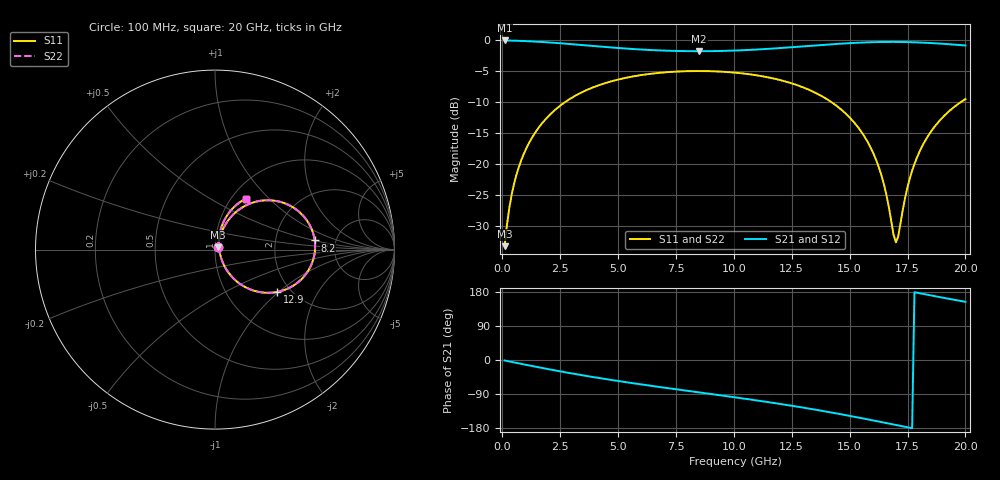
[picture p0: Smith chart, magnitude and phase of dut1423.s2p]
! Touchstone file exported from HFSS 2026.1.0
!  File:  C:/ffzhzh/LocalFiles/Ansys_Project_Files/temp_train_TSV_RDL_1423_1783354750_37376.aedt
!  Generated:  12:28:33 AM Jul  7, 2026
!  Design:  TSV_RDL
!  Project:  temp_train_TSV_RDL_1423_1783354750_37376
! Variables:
!  h_bsmrdl = 3.02um
!  h_ox = 20um
!  h_rdl = 5um
!  h_sub = 61.08um
!  h_tmrdl = 5.25um
!  h_tsv = 61.08um
!  h_via = 3um
!  l_bsmrdl = 377.7um
!  l_sub = 3401.34um
!  l_tmrdl = 442.04um
!  m_sub = 200um
!  pitch = 48.66um
!  r_tsv = 12.58um
!  s_tmrdl = 10um
!  w_bsmrdl = 21.61um
!  w_sub = 500um
!  w_tmrdl = 11.75um
!  x_tsv_center1 = 447.915um
!  x_tsv_center2 = 847.225um
!  x_tsv_center3 = 1301.015um
!  x_tsv_center4 = 1700.325um
!  x_tsv_center5 = 2154.115um
!  x_tsv_center6 = 2553.425um
# GHz S MA R 50.000000
! Terminal data exported
! Port[1] = TM_RDL1_1_T1
! Port[2] = TM_RDL5_1_T1
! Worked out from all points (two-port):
!   200 points, 100 MHz to 20 GHz, reference 50 ohm
!   highest |S21| = -0.15 dB at 100 MHz (marker M1); lowest = -1.9 dB at 8.5 GHz (marker M2)
!   |S21| within 3 dB of the highest: start of sweep to end of sweep
!   lowest |S11| = -33.2 dB at 100 MHz (marker M3), VSWR 1.04, Z = 51.8 + j1.37 ohm
!   |S11| at or under -10 dB: start of sweep to 2.733 GHz; 14.19 GHz to 19.82 GHz (5.632 GHz wide, 33.1 % of centre)
!   |S22| runs from -33.2 to -5.1 dB; largest |S21 - S12| = 4.6e-14
!   S11 on the Smith chart (normalised r, x): 100 MHz: 1.04, +0.03; 8.2 GHz: 3.44, +0.51; 12.9 GHz: 1.71, -0.98; 20 GHz: 1.16, +0.74
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0.1  0.02186 37.2  0.9828 -1.3  0.9828 -1.3  0.02186 37.2
! Gamma 0 0 0 0
! Port Impedance 50 0 50 0
0.3  0.044 61.9  0.9811 -3.8  0.9811 -3.8  0.044 61.9
0.5  0.06838 67.5  0.9788 -6.3  0.9788 -6.3  0.06838 67.5
1.1  0.141 68.0  0.9695 -13.6  0.9695 -13.6  0.141 68.0
2.1  0.2536 59.6  0.9454 -25.4  0.9454 -25.4  0.2536 59.6
3.5  0.3816 45.8  0.9009 -40.7  0.9009 -40.7  0.3816 45.8
6.8  0.5402 16.5  0.8172 -71.3  0.8172 -71.3  0.5402 16.5
8.2  0.5578 5.2  0.8057 -83.0  0.8057 -83.0  0.5578 5.2
8.5  0.5583 2.9  0.8054 -85.5  0.8054 -85.5  0.5583 2.9
10.1  0.5407 -10.0  0.8162 -98.9  0.8162 -98.9  0.5407 -10.0
12.9  0.419 -34.3  0.8781 -124.7  0.8781 -124.7  0.419 -34.3
13.4  0.3829 -39.0  0.8925 -129.8  0.8925 -129.8  0.3829 -39.0
14.7  0.2673 -51.2  0.9281 -144.0  0.9281 -144.0  0.2673 -51.2
15.6  0.1707 -58.6  0.9467 -154.5  0.9467 -154.5  0.1707 -58.6
16.2  0.1013 -60.1  0.9542 -161.7  0.9542 -161.7  0.1013 -60.1
16.7  0.0444 -47.5  0.9568 -167.8  0.9568 -167.8  0.04441 -47.5
17  0.02348 5.2  0.9566 -171.4  0.9566 -171.4  0.02353 5.3
17.1  0.02618 32.1  0.9563 -172.6  0.9563 -172.6  0.02623 32.1
17.6  0.07661 72.0  0.9524 -178.7  0.9524 -178.7  0.07664 72.0
18.1  0.1349 74.0  0.9452 175.3  0.9452 175.3  0.1349 74.0
18.9  0.2244 68.8  0.9276 165.8  0.9276 165.8  0.2244 68.8
20  0.3322 58.9  0.8956 153.6  0.8956 153.6  0.3322 58.9
